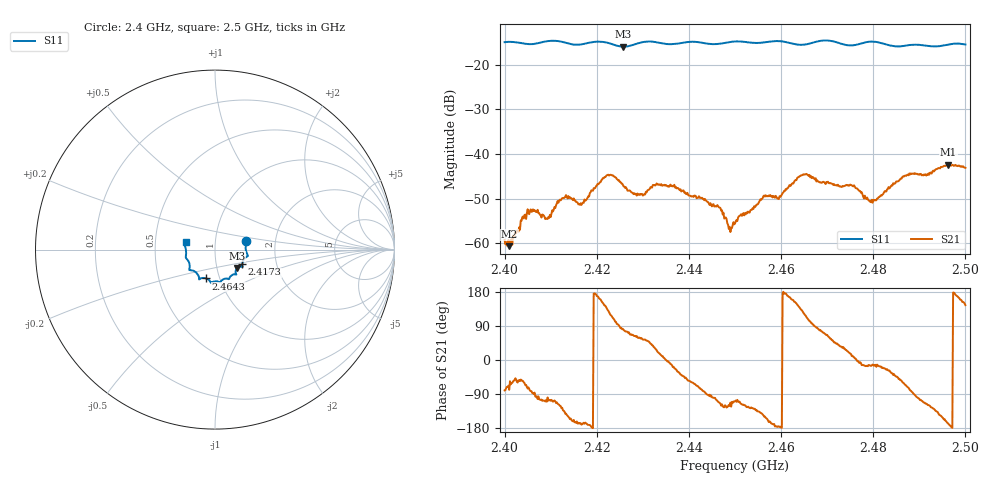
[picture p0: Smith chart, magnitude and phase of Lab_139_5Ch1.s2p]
# Hz S RI R 50
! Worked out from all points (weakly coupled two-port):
!   601 points, 2.4 GHz to 2.5 GHz, reference 50 ohm
!   highest |S21| = -42.43 dB at 2.4963 GHz (marker M1); lowest = -60.7 dB at 2.401 GHz (marker M2)
!   lowest |S11| = -15.9 dB at 2.4257 GHz (marker M3), VSWR 1.38, Z = 62.5 - j13.1 ohm
!   |S11| at or under -10 dB: start of sweep to end of sweep
!   S12 and S22 are empty: the file has one direction only
!   S11 on the Smith chart (normalised r, x): 2.4 GHz: 1.41, +0.14; 2.4173 GHz: 1.34, -0.23; 2.4643 GHz: 0.86, -0.28; 2.5 GHz: 0.72, +0.06
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2.4e9  0.1733 0.049  0.000183 -0.00107  0 0  0 0
2.401e9  0.1759 0.0451  0.000182 -0.000904  0 0  0 0
2.405333e9  0.1708 0.00982  0.000507 -0.00205  0 0  0 0
2.409167e9  0.1817 -0.0302  -0.000642 -0.00176  0 0  0 0
2.412833e9  0.1753 -0.0401  -0.00222 -0.00231  0 0  0 0
2.416667e9  0.153 -0.0745  -0.00264 -0.000442  0 0  0 0
2.417333e9  0.152 -0.0821  -0.00302 -0.000632  0 0  0 0
2.4225e9  0.149 -0.0944  -0.00376 0.00449  0 0  0 0
2.425667e9  0.1229 -0.1023  0.000637 0.00444  0 0  0 0
2.429667e9  0.1168 -0.1352  0.00188 0.00302  0 0  0 0
2.433333e9  0.1128 -0.1375  0.00424 0.00154  0 0  0 0
2.443e9  0.0698 -0.1623  0.000463 -0.0031  0 0  0 0
2.446667e9  0.0424 -0.1675  -0.000982 -0.0023  0 0  0 0
2.448833e9  0.032 -0.1776  -0.00079 -0.0013  0 0  0 0
2.45e9  0.0289 -0.181  -0.000532 -0.00157  0 0  0 0
2.464333e9  -0.05 -0.1604  -0.00393 0.00421  0 0  0 0
2.466667e9  -0.0759 -0.1591  -0.000673 0.00532  0 0  0 0
2.4755e9  -0.1115 -0.1224  0.00429 0.000846  0 0  0 0
2.479333e9  -0.1423 -0.1141  0.00281 -0.000738  0 0  0 0
2.483333e9  -0.1407 -0.0896  0.00375 -0.002  0 0  0 0
2.496333e9  -0.1683 0.0222  -0.00741 -0.00148  0 0  0 0
2.5e9  -0.1641 0.0428  -0.00572 0.00402  0 0  0 0
